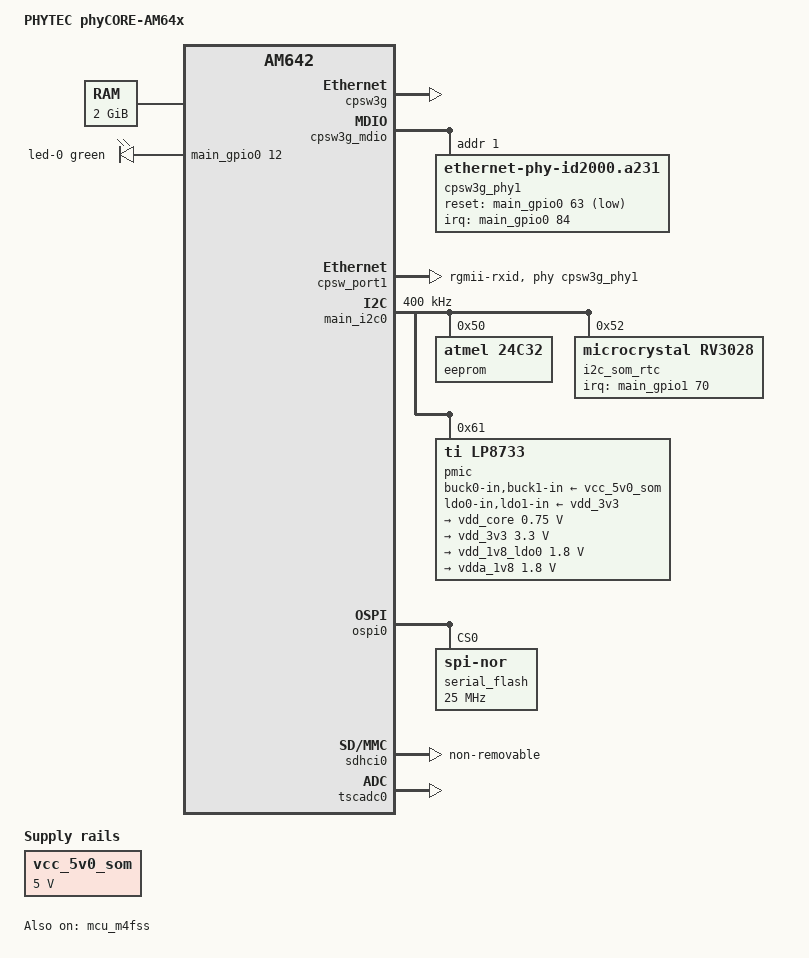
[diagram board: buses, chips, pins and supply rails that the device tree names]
// SPDX-License-Identifier: GPL-2.0-only OR MIT
/*
 * Copyright (C) 2021-2024 PHYTEC America, LLC - https://www.phytec.com
 * Author: Matt McKee <mmckee@phytec.com>
 *
 * Copyright (C) 2022-2024 PHYTEC Messtechnik GmbH
 * Author: Wadim Egorov <w.egorov@phytec.de>
 *
 * Product homepage:
 * https://www.phytec.com/product/phycore-am64x
 */

#include <dt-bindings/gpio/gpio.h>
#include <dt-bindings/leds/common.h>
#include <dt-bindings/net/ti-dp83867.h>

/ {
	model = "PHYTEC phyCORE-AM64x";
	compatible = "phytec,am64-phycore-som", "ti,am642";

	aliases {
		ethernet0 = &cpsw_port1;
		mmc0 = &sdhci0;
		rtc0 = &i2c_som_rtc;
	};

	memory@80000000 {
		device_type = "memory";
		reg = <0x00000000 0x80000000 0x00000000 0x80000000>;
	};

	reserved_memory: reserved-memory {
		#address-cells = <2>;
		#size-cells = <2>;
		ranges;

		secure_ddr: optee@9e800000 {
			reg = <0x00 0x9e800000 0x00 0x01800000>; /* for OP-TEE */
			alignment = <0x1000>;
			no-map;
		};

		main_r5fss0_core0_dma_memory_region: r5f-dma-memory@a0000000 {
			compatible = "shared-dma-pool";
			reg = <0x00 0xa0000000 0x00 0x100000>;
			no-map;
		};

		main_r5fss0_core0_memory_region: r5f-memory@a0100000 {
			compatible = "shared-dma-pool";
			reg = <0x00 0xa0100000 0x00 0xf00000>;
			no-map;
		};

		main_r5fss0_core1_dma_memory_region: r5f-dma-memory@a1000000 {
			compatible = "shared-dma-pool";
			reg = <0x00 0xa1000000 0x00 0x100000>;
			no-map;
		};

		main_r5fss0_core1_memory_region: r5f-memory@a1100000 {
			compatible = "shared-dma-pool";
			reg = <0x00 0xa1100000 0x00 0xf00000>;
			no-map;
		};

		main_r5fss1_core0_dma_memory_region: r5f-dma-memory@a2000000 {
			compatible = "shared-dma-pool";
			reg = <0x00 0xa2000000 0x00 0x100000>;
			no-map;
		};

		main_r5fss1_core0_memory_region: r5f-memory@a2100000 {
			compatible = "shared-dma-pool";
			reg = <0x00 0xa2100000 0x00 0xf00000>;
			no-map;
		};

		main_r5fss1_core1_dma_memory_region: r5f-dma-memory@a3000000 {
			compatible = "shared-dma-pool";
			reg = <0x00 0xa3000000 0x00 0x100000>;
			no-map;
		};

		main_r5fss1_core1_memory_region: r5f-memory@a3100000 {
			compatible = "shared-dma-pool";
			reg = <0x00 0xa3100000 0x00 0xf00000>;
			no-map;
		};

		mcu_m4fss_dma_memory_region: m4f-dma-memory@a4000000 {
			compatible = "shared-dma-pool";
			reg = <0x00 0xa4000000 0x00 0x100000>;
			no-map;
		};

		mcu_m4fss_memory_region: m4f-memory@a4100000 {
			compatible = "shared-dma-pool";
			reg = <0x00 0xa4100000 0x00 0xf00000>;
			no-map;
		};
	};

	leds {
		compatible = "gpio-leds";
		pinctrl-names = "default";
		pinctrl-0 = <&leds_pins_default>;

		led-0 {
			color = <LED_COLOR_ID_GREEN>;
			gpios = <&main_gpio0 12 GPIO_ACTIVE_HIGH>;
			linux,default-trigger = "heartbeat";
			function = LED_FUNCTION_HEARTBEAT;
		};
	};

	vcc_5v0_som: regulator-vcc-5v0-som {
		/* VIN / VCC_5V0_SOM */
		compatible = "regulator-fixed";
		regulator-name = "VCC_5V0_SOM";
		regulator-min-microvolt = <5000000>;
		regulator-max-microvolt = <5000000>;
		regulator-always-on;
		regulator-boot-on;
	};
};

&main_pmx0 {
	cpsw_mdio_pins_default: cpsw-mdio-default-pins {
		pinctrl-single,pins = <
			AM64X_IOPAD(0x01f8, PIN_INPUT, 4)	/* (P5) PRG0_PRU1_GPO18.MDIO0_MDIO */
			AM64X_IOPAD(0x01fc, PIN_OUTPUT, 4)	/* (R2) PRG0_PRU1_GPO19.MDIO0_MDC */
			AM64X_IOPAD(0x0100, PIN_OUTPUT, 7)	/* (V7) PRG1_PRU0_GPO18.GPIO0_63 */
		>;
	};

	cpsw_rgmii1_pins_default: cpsw-rgmii1-default-pins {
		pinctrl-single,pins = <
			AM64X_IOPAD(0x0184, PIN_INPUT, 4)	/* (W6) PRG0_PRU0_GPO9.RGMII1_RX_CTL */
			AM64X_IOPAD(0x0188, PIN_INPUT, 4)	/* (AA5) PRG0_PRU0_GPO10.RGMII1_RXC */
			AM64X_IOPAD(0x00dc, PIN_OUTPUT, 4)	/* (U15) PRG1_PRU0_GPO9.RGMII1_TX_CTL */
			AM64X_IOPAD(0x00e0, PIN_OUTPUT, 4)	/* (U14) PRG1_PRU0_GPO10.RGMII1_TXC */
			AM64X_IOPAD(0x01cc, PIN_INPUT, 4)	/* (W5) PRG0_PRU1_GPO7.RGMII1_RD0 */
			AM64X_IOPAD(0x0124, PIN_OUTPUT, 4)	/* (V15) PRG1_PRU1_GPO7.RGMII1_TD0 */
			AM64X_IOPAD(0x01d4, PIN_INPUT, 4)	/* (Y5) PRG0_PRU1_GPO9.RGMII1_RD1 */
			AM64X_IOPAD(0x012c, PIN_OUTPUT, 4)	/* (V14) PRG1_PRU1_GPO9.RGMII1_TD1 */
			AM64X_IOPAD(0x01d8, PIN_INPUT, 4)	/* (V6) PRG0_PRU1_GPO10.RGMII1_RD2 */
			AM64X_IOPAD(0x0130, PIN_OUTPUT, 4)	/* (W14) PRG1_PRU1_GPO10.RGMII1_TD2 */
			AM64X_IOPAD(0x01f4, PIN_INPUT, 4)	/* (V5) PRG0_PRU1_GPO17.RGMII1_RD3 */
			AM64X_IOPAD(0x014c, PIN_OUTPUT, 4)	/* (AA14) PRG1_PRU1_GPO17.RGMII1_TD3 */
			AM64X_IOPAD(0x0154, PIN_INPUT, 7)	/* (V12) PRG1_PRU1_GPO19.GPIO0_84 */
		>;
	};

	eeprom_wp_pins_default: eeprom-wp-default-pins {
		pinctrl-single,pins = <
			AM64X_IOPAD(0x0208, PIN_OUTPUT, 7)	/* (D12) SPI0_CS0.GPIO1_42 */
		>;
	};

	leds_pins_default: leds-default-pins {
		pinctrl-single,pins = <
			AM64X_IOPAD(0x0030, PIN_OUTPUT, 7)	/* (L18) OSPI0_CSn1.GPIO0_12 */
		>;
	};

	main_i2c0_pins_default: main-i2c0-default-pins {
		pinctrl-single,pins = <
			AM64X_IOPAD(0x0260, PIN_INPUT, 0)	/* (A18) I2C0_SCL */
			AM64X_IOPAD(0x0264, PIN_INPUT, 0)	/* (B18) I2C0_SDA */
		>;
	};

	ospi0_pins_default: ospi0-default-pins {
		pinctrl-single,pins = <
			AM64X_IOPAD(0x0000, PIN_OUTPUT, 0)	/* (N20) OSPI0_CLK */
			AM64X_IOPAD(0x0008, PIN_INPUT, 0)	/* (N19) OSPI0_DQS */
			AM64X_IOPAD(0x000c, PIN_INPUT, 0)	/* (M19) OSPI0_D0 */
			AM64X_IOPAD(0x0010, PIN_INPUT, 0)	/* (M18) OSPI0_D1 */
			AM64X_IOPAD(0x0014, PIN_INPUT, 0)	/* (M20) OSPI0_D2 */
			AM64X_IOPAD(0x0018, PIN_INPUT, 0)	/* (M21) OSPI0_D3 */
			AM64X_IOPAD(0x001c, PIN_INPUT, 0)	/* (P21) OSPI0_D4 */
			AM64X_IOPAD(0x0020, PIN_INPUT, 0)	/* (P20) OSPI0_D5 */
			AM64X_IOPAD(0x0024, PIN_INPUT, 0)	/* (N18) OSPI0_D6 */
			AM64X_IOPAD(0x0028, PIN_INPUT, 0)	/* (M17) OSPI0_D7 */
			AM64X_IOPAD(0x002c, PIN_OUTPUT, 0)	/* (L19) OSPI0_CSn0 */
		>;
	};

	rtc_pins_default: rtc-defaults-pins {
		pinctrl-single,pins = <
			AM64X_IOPAD(0x0278, PIN_INPUT, 7)	/* (C19) EXTINTn.GPIO1_70 */
		>;
	};
};

&cpsw3g {
	pinctrl-names = "default";
	pinctrl-0 = <&cpsw_rgmii1_pins_default>;
	status = "okay";
};

&cpsw3g_mdio {
	status = "okay";
	pinctrl-names = "default";
	pinctrl-0 = <&cpsw_mdio_pins_default>;

	cpsw3g_phy1: ethernet-phy@1 {
		compatible = "ethernet-phy-id2000.a231", "ethernet-phy-ieee802.3-c22";
		reg = <1>;
		interrupt-parent = <&main_gpio0>;
		interrupts = <84 IRQ_TYPE_EDGE_FALLING>;
		ti,rx-internal-delay = <DP83867_RGMIIDCTL_2_00_NS>;
		ti,fifo-depth = <DP83867_PHYCR_FIFO_DEPTH_4_B_NIB>;
		reset-gpios = <&main_gpio0 63 GPIO_ACTIVE_LOW>;
		reset-assert-us = <1000>;
		reset-deassert-us = <1000>;
	};
};

&cpsw_port1 {
	phy-mode = "rgmii-rxid";
	phy-handle = <&cpsw3g_phy1>;
	status = "okay";
};

&mailbox0_cluster2 {
	status = "okay";

	mbox_main_r5fss0_core0: mbox-main-r5fss0-core0 {
		ti,mbox-rx = <0 0 2>;
		ti,mbox-tx = <1 0 2>;
	};

	mbox_main_r5fss0_core1: mbox-main-r5fss0-core1 {
		ti,mbox-rx = <2 0 2>;
		ti,mbox-tx = <3 0 2>;
	};
};

&mailbox0_cluster4 {
	status = "okay";

	mbox_main_r5fss1_core0: mbox-main-r5fss1-core0 {
		ti,mbox-rx = <0 0 2>;
		ti,mbox-tx = <1 0 2>;
	};

	mbox_main_r5fss1_core1: mbox-main-r5fss1-core1 {
		ti,mbox-rx = <2 0 2>;
		ti,mbox-tx = <3 0 2>;
	};
};

&mailbox0_cluster6 {
	status = "okay";

	mbox_m4_0: mbox-m4-0 {
		ti,mbox-rx = <0 0 2>;
		ti,mbox-tx = <1 0 2>;
	};
};

&main_i2c0 {
	status = "okay";
	pinctrl-names = "default";
	pinctrl-0 = <&main_i2c0_pins_default>;
	clock-frequency = <400000>;

	eeprom@50 {
		compatible = "atmel,24c32";
		pinctrl-names = "default";
		pinctrl-0 = <&eeprom_wp_pins_default>;
		pagesize = <32>;
		reg = <0x50>;
	};

	i2c_som_rtc: rtc@52 {
		compatible = "microcrystal,rv3028";
		reg = <0x52>;
		pinctrl-names = "default";
		pinctrl-0 = <&rtc_pins_default>;
		interrupt-parent = <&main_gpio1>;
		interrupts = <70 IRQ_TYPE_EDGE_FALLING>;
		wakeup-source;
	};

	pmic@61 {
		compatible = "ti,lp8733";
		reg = <0x61>;

		buck0-in-supply = <&vcc_5v0_som>;
		buck1-in-supply = <&vcc_5v0_som>;
		ldo0-in-supply = <&vdd_3v3>;
		ldo1-in-supply = <&vdd_3v3>;

		regulators {
			vdd_core: buck0 {
				regulator-name = "VDD_CORE";
				regulator-min-microvolt = <750000>;
				regulator-max-microvolt = <750000>;
				regulator-always-on;
				regulator-boot-on;
			};

			vdd_3v3: buck1 {
				regulator-name = "VDD_3V3";
				regulator-min-microvolt = <3300000>;
				regulator-max-microvolt = <3300000>;
				regulator-always-on;
				regulator-boot-on;
			};

			vdd_1v8_ldo0: ldo0 {
				regulator-name = "VDD_1V8_LDO0";
				regulator-min-microvolt = <1800000>;
				regulator-max-microvolt = <1800000>;
				regulator-always-on;
				regulator-boot-on;
			};

			vdda_1v8: ldo1 {
				regulator-name = "VDDA_1V8";
				regulator-min-microvolt = <1800000>;
				regulator-max-microvolt = <1800000>;
				regulator-always-on;
				regulator-boot-on;
			};
		};
	};
};

&main_r5fss0_core0 {
	mboxes = <&mailbox0_cluster2 &mbox_main_r5fss0_core0>;
	memory-region = <&main_r5fss0_core0_dma_memory_region>,
			<&main_r5fss0_core0_memory_region>;
};

&main_r5fss0_core1 {
	mboxes = <&mailbox0_cluster2 &mbox_main_r5fss0_core1>;
	memory-region = <&main_r5fss0_core1_dma_memory_region>,
			<&main_r5fss0_core1_memory_region>;
};

&main_r5fss1_core0 {
	mboxes = <&mailbox0_cluster4 &mbox_main_r5fss1_core0>;
	memory-region = <&main_r5fss1_core0_dma_memory_region>,
			<&main_r5fss1_core0_memory_region>;
};

&main_r5fss1_core1 {
	mboxes = <&mailbox0_cluster4 &mbox_main_r5fss1_core1>;
	memory-region = <&main_r5fss1_core1_dma_memory_region>,
			<&main_r5fss1_core1_memory_region>;
};

&mcu_m4fss {
	mboxes = <&mailbox0_cluster6 &mbox_m4_0>;
	memory-region = <&mcu_m4fss_dma_memory_region>,
			<&mcu_m4fss_memory_region>;
	status = "okay";
};

&ospi0 {
	status = "okay";
	pinctrl-names = "default";
	pinctrl-0 = <&ospi0_pins_default>;

	serial_flash: flash@0 {
		compatible = "jedec,spi-nor";
		reg = <0x0>;
		spi-tx-bus-width = <8>;
		spi-rx-bus-width = <8>;
		spi-max-frequency = <25000000>;
		cdns,tshsl-ns = <60>;
		cdns,tsd2d-ns = <60>;
		cdns,tchsh-ns = <60>;
		cdns,tslch-ns = <60>;
		cdns,read-delay = <0>;
	};
};

&sdhci0 {
	status = "okay";
	non-removable;
	ti,driver-strength-ohm = <50>;
	disable-wp;
	keep-power-in-suspend;
};

&tscadc0 {
	status = "okay";
	adc {
		ti,adc-channels = <0 1 2 3 4 5 6 7>;
	};
};
